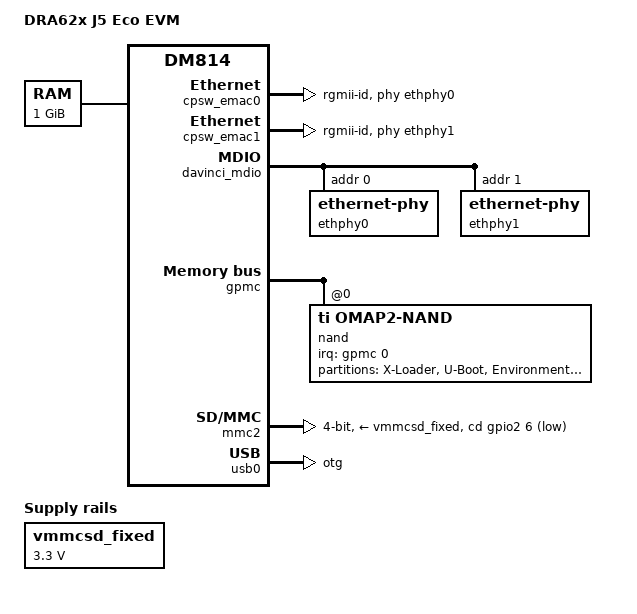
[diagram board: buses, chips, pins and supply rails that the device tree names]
// SPDX-License-Identifier: GPL-2.0-only
/dts-v1/;

#include "dra62x.dtsi"
#include <dt-bindings/interrupt-controller/irq.h>

/ {
	model = "DRA62x J5 Eco EVM";
	compatible = "ti,dra62x-j5eco-evm", "ti,dra62x", "ti,dm8148", "ti,dm814";

	memory@80000000 {
		device_type = "memory";
		reg = <0x80000000 0x40000000>;	/* 1 GB */
	};

	/* MIC94060YC6 controlled by SD1_POW pin */
	vmmcsd_fixed: fixedregulator0 {
		compatible = "regulator-fixed";
		regulator-name = "vmmcsd_fixed";
		regulator-min-microvolt = <3300000>;
		regulator-max-microvolt = <3300000>;
	};
};

&cpsw_emac0 {
	phy-handle = <&ethphy0>;
	phy-mode = "rgmii-id";
};

&cpsw_emac1 {
	phy-handle = <&ethphy1>;
	phy-mode = "rgmii-id";
};

&davinci_mdio {
	ethphy0: ethernet-phy@0 {
		reg = <0>;
	};

	ethphy1: ethernet-phy@1 {
		reg = <1>;
	};
};

&gpmc {
	ranges = <0 0 0x04000000 0x01000000>;	/* CS0: 16MB for NAND */

	nand@0,0 {
		compatible = "ti,omap2-nand";
		reg = <0 0 4>; /* CS0, offset 0, IO size 4 */
		interrupt-parent = <&gpmc>;
		interrupts = <0 IRQ_TYPE_NONE>, /* fifoevent */
			     <1 IRQ_TYPE_NONE>; /* termcount */
		linux,mtd-name= "micron,mt29f2g16aadwp";
		#address-cells = <1>;
		#size-cells = <1>;
		ti,nand-ecc-opt = "bch8";
		nand-bus-width = <16>;
		gpmc,device-width = <2>;
		gpmc,sync-clk-ps = <0>;
		gpmc,cs-on-ns = <0>;
		gpmc,cs-rd-off-ns = <44>;
		gpmc,cs-wr-off-ns = <44>;
		gpmc,adv-on-ns = <6>;
		gpmc,adv-rd-off-ns = <34>;
		gpmc,adv-wr-off-ns = <44>;
		gpmc,we-on-ns = <0>;
		gpmc,we-off-ns = <40>;
		gpmc,oe-on-ns = <0>;
		gpmc,oe-off-ns = <54>;
		gpmc,access-ns = <64>;
		gpmc,rd-cycle-ns = <82>;
		gpmc,wr-cycle-ns = <82>;
		gpmc,bus-turnaround-ns = <0>;
		gpmc,cycle2cycle-delay-ns = <0>;
		gpmc,clk-activation-ns = <0>;
		gpmc,wr-access-ns = <40>;
		gpmc,wr-data-mux-bus-ns = <0>;
		partition@0 {
			label = "X-Loader";
			reg = <0 0x80000>;
		};
		partition@80000 {
			label = "U-Boot";
			reg = <0x80000 0x1c0000>;
		};
		partition@1c0000 {
			label = "Environment";
			reg = <0x240000 0x40000>;
		};
		partition@280000 {
			label = "Kernel";
			reg = <0x280000 0x500000>;
		};
		partition@780000 {
			label = "Filesystem";
			reg = <0x780000 0xf880000>;
		};
	};
};

&mmc2 {
	pinctrl-names = "default";
	pinctrl-0 = <&sd1_pins>;
	vmmc-supply = <&vmmcsd_fixed>;
	bus-width = <4>;
	cd-gpios = <&gpio2 6 GPIO_ACTIVE_LOW>;
};

&pincntl {
	sd1_pins: pinmux_sd1_pins {
		pinctrl-single,pins = <
			DM814X_IOPAD(0x0800, PIN_INPUT | 0x1)	/* SD1_CLK */
			DM814X_IOPAD(0x0804, PIN_INPUT_PULLUP |  0x1)	/* SD1_CMD */
			DM814X_IOPAD(0x0808, PIN_INPUT_PULLUP |  0x1)	/* SD1_DAT[0] */
			DM814X_IOPAD(0x080c, PIN_INPUT_PULLUP |  0x1)	/* SD1_DAT[1] */
			DM814X_IOPAD(0x0810, PIN_INPUT_PULLUP |  0x1)	/* SD1_DAT[2] */
			DM814X_IOPAD(0x0814, PIN_INPUT_PULLUP |  0x1)	/* SD1_DAT[3] */
			DM814X_IOPAD(0x0924, PIN_OUTPUT |  0x40)	/* SD1_POW */
			DM814X_IOPAD(0x093C, PIN_INPUT_PULLUP |  0x80)	/* GP1[6] */
			>;
	};

	usb0_pins: pinmux_usb0_pins {
		pinctrl-single,pins = <
			DM814X_IOPAD(0x0c34, PIN_OUTPUT | 0x1)	/* USB0_DRVVBUS */
			>;
	};
};

/* USB0_ID pin state: SW10[1] = 0 cable detection, SW10[1] = 1 ID grounded */
&usb0 {
	pinctrl-names = "default";
	pinctrl-0 = <&usb0_pins>;
	dr_mode = "otg";
};

&usb1_phy {
	status = "disabled";
};

&usb1 {
	status = "disabled";
};
